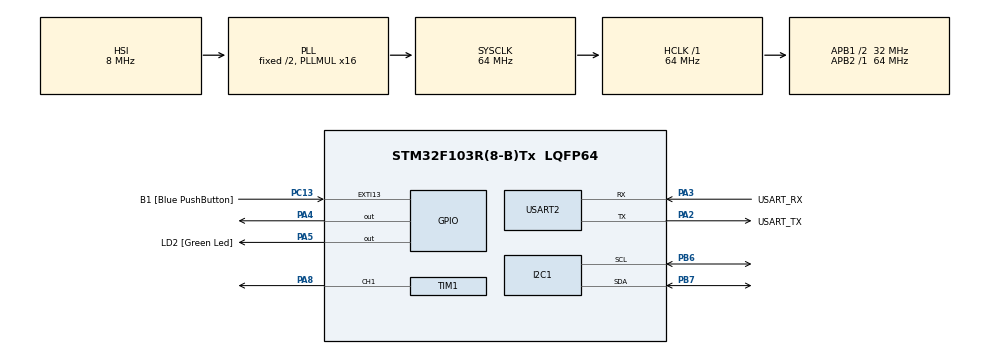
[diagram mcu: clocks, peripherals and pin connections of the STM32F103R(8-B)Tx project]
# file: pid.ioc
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Dma.Request0=USART2_RX
Dma.USART2_RX.0.Direction=DMA_PERIPH_TO_MEMORY
Dma.USART2_RX.0.Instance=DMA1_Channel6
Dma.USART2_RX.0.MemDataAlignment=DMA_MDATAALIGN_BYTE
Dma.USART2_RX.0.MemInc=DMA_MINC_ENABLE
Dma.USART2_RX.0.Mode=DMA_NORMAL
Dma.USART2_RX.0.PeriphDataAlignment=DMA_PDATAALIGN_BYTE
Dma.USART2_RX.0.PeriphInc=DMA_PINC_DISABLE
Dma.USART2_RX.0.Priority=DMA_PRIORITY_LOW
Mcu.Family=STM32F1
Mcu.Name=STM32F103R(8-B)Tx
Mcu.Package=LQFP64
NVIC.DMA1_Channel6_IRQn=true\:0\:0\:false\:false\:true\:false\:true\:true
NVIC.EXTI15_10_IRQn=true\:0\:0\:false\:false\:true\:true\:true\:true
NVIC.PriorityGroup=NVIC_PRIORITYGROUP_4
NVIC.TIM3_IRQn=true\:0\:0\:false\:false\:true\:true\:true\:true
NVIC.USART2_IRQn=true\:0\:0\:false\:false\:true\:true\:true\:true
PA13.GPIO_Label=TMS
PA13.Mode=Serial_Wire
PA13.Signal=SYS_JTMS-SWDIO
PA14.GPIO_Label=TCK
PA14.Mode=Serial_Wire
PA14.Signal=SYS_JTCK-SWCLK
PA2.GPIO_Label=USART_TX
PA2.GPIO_Mode=GPIO_MODE_AF_PP
PA2.GPIO_PuPd=GPIO_NOPULL
PA2.GPIO_Speed=GPIO_SPEED_FREQ_LOW
PA2.Mode=Asynchronous
PA2.Signal=USART2_TX
PA3.GPIO_Label=USART_RX
PA3.GPIO_Mode=GPIO_MODE_AF_PP
PA3.GPIO_PuPd=GPIO_NOPULL
PA3.GPIO_Speed=GPIO_SPEED_FREQ_LOW
PA3.Mode=Asynchronous
PA3.Signal=USART2_RX
PA4.Signal=GPIO_Output
PA5.GPIO_Label=LD2 [Green Led]
PA5.GPIO_ModeDefaultOutputPP=GPIO_MODE_OUTPUT_PP
PA5.GPIO_PuPd=GPIO_NOPULL
PA5.GPIO_Speed=GPIO_SPEED_FREQ_LOW
PA5.Signal=GPIO_Output
PA8.Signal=S_TIM1_CH1
PB3.GPIO_Label=SWO
PB3.Signal=SYS_JTDO-TRACESWO
PB6.Mode=I2C
PB6.Signal=I2C1_SCL
PB7.Mode=I2C
PB7.Signal=I2C1_SDA
PC13-TAMPER-RTC.GPIO_Label=B1 [Blue PushButton]
PC13-TAMPER-RTC.GPIO_PuPd=GPIO_NOPULL
PC13-TAMPER-RTC.Signal=GPXTI13
PC14-OSC32_IN.Mode=LSE-External-Oscillator
PC14-OSC32_IN.Signal=RCC_OSC32_IN
PC15-OSC32_OUT.Mode=LSE-External-Oscillator
PC15-OSC32_OUT.Signal=RCC_OSC32_OUT
PD0-OSC_IN.Mode=HSE-External-Clock-Source
PD0-OSC_IN.Signal=RCC_OSC_IN
PD1-OSC_OUT.Mode=HSE-External-Clock-Source
PD1-OSC_OUT.Signal=RCC_OSC_OUT
ProjectManager.HeapSize=0x200
ProjectManager.StackSize=0x400
ProjectManager.TargetToolchain=STM32CubeIDE
RCC.AHBFreq_Value=64000000
RCC.APB1CLKDivider=RCC_HCLK_DIV2
RCC.APB1Freq_Value=32000000
RCC.APB1TimFreq_Value=64000000
RCC.APB2Freq_Value=64000000
RCC.APB2TimFreq_Value=64000000
RCC.HCLKFreq_Value=64000000
RCC.PLLMUL=RCC_PLL_MUL16
RCC.RTCClockSelection=RCC_RTCCLKSOURCE_LSE
RCC.SYSCLKFreq_VALUE=64000000
RCC.SYSCLKSource=RCC_SYSCLKSOURCE_PLLCLK
RCC.USBFreq_Value=64000000
SH.S_TIM1_CH1.0=TIM1_CH1,PWM Generation1 CH1
TIM1.Channel-PWM\ Generation1\ CH1=TIM_CHANNEL_1
TIM3.AutoReloadPreload=TIM_AUTORELOAD_PRELOAD_ENABLE
TIM3.Period=10000-1
TIM3.Prescaler=9600-1
USART2.VirtualMode=VM_ASYNC
VP_TIM1_VS_ClockSourceINT.Mode=Internal
VP_TIM3_VS_ClockSourceINT.Mode=Internal
board=NUCLEO-F103RB

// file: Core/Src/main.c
/* USER CODE BEGIN Header */
/**
  ******************************************************************************
  * @file           : main.c
  * @brief          : Main program body
  ******************************************************************************
  * @attention
  *
  * Copyright (c) 2023 STMicroelectronics.
  * All rights reserved.
  *
  * This software is licensed under terms that can be found in the LICENSE file
  * in the root directory of this software component.
  * If no LICENSE file comes with this software, it is provided AS-IS.
  *
  ******************************************************************************
  */
/* USER CODE END Header */
#include "main.h"

/* USER CODE BEGIN Includes */
#include "BMPXX80.h"
#include "stdio.h"
#include "string.h"
/* USER CODE END Includes */

/* USER CODE BEGIN PD */
#define COUNTOF(__BUFFER__) (sizeof(__BUFFER__) / (sizeof *(__BUFFER__)))
/* USER CODE END PD */

I2C_HandleTypeDef hi2c1;

TIM_HandleTypeDef htim1;
TIM_HandleTypeDef htim3;

UART_HandleTypeDef huart2;
DMA_HandleTypeDef hdma_usart2_rx;

/* USER CODE BEGIN PV */
float current_temp_f;
char current_temp_ch_UART[29];

float set_temp_f = 30.0;

char set_temp_ch_UART[24];

int32_t pressure;

float pwm_duty_f;
uint16_t pwm_duty_u = 0;

char get_UART[10];
/* USER CODE END PV */

void SystemClock_Config(void);
static void MX_GPIO_Init(void);
static void MX_DMA_Init(void);
static void MX_USART2_UART_Init(void);
static void MX_I2C1_Init(void);
static void MX_TIM3_Init(void);
static void MX_TIM1_Init(void);

/* USER CODE BEGIN 0 */
struct Controller{
	float Kp;
	float Ki;
	float Kd;
	float Tp;
	float prev_error;
	float prev_u_I;

};

float calculate_PID(struct Controller *PID, float set_temp, float meas_temp){
	float u = 0;
	float error;
	float u_P, u_I , u_D;

	error = set_temp - meas_temp;

	// Proportional
	u_P = PID->Kp * error;

	// Integral
	u_I = PID->Ki * PID->Tp / 2.0 * (error + PID->prev_error) + PID->prev_u_I;
	PID->prev_u_I = u_I;

	// Derivative
	u_D = (error - PID->prev_error) / PID->Tp;

	PID->prev_error = error;

	// Sum of P, I and D components
	u = u_P + u_I + u_D;

	return u;
}

struct Controller PID;

/* USER CODE END 0 */

int main(void)
{

  /* MCU Configuration--------------------------------------------------------*/

  /* Reset of all peripherals, Initializes the Flash interface and the Systick. */
  HAL_Init();

  /* Configure the system clock */
  SystemClock_Config();

  /* Initialize all configured peripherals */
  MX_GPIO_Init();
  MX_DMA_Init();
  MX_USART2_UART_Init();
  MX_I2C1_Init();
  MX_TIM3_Init();
  MX_TIM1_Init();
  /* USER CODE BEGIN 2 */
  BMP280_Init(&hi2c1, BMP280_TEMPERATURE_16BIT, BMP280_STANDARD, BMP280_FORCEDMODE);
  HAL_TIM_PWM_Start(&htim1, TIM_CHANNEL_1);
  HAL_TIM_Base_Start_IT(&htim3);

  PID.Kp = 0.03928;
  PID.Ki = 0.0002692;
  PID.Kd = 0.01957;
  PID.Tp = 1;
  PID.prev_error = 0;
  PID.prev_u_I = 0;

  HAL_UARTEx_ReceiveToIdle_DMA(&huart2, (uint8_t *)get_UART, 10);
  /* USER CODE END 2 */

  /* Infinite loop */
  while (1)
  {

    /* USER CODE BEGIN 3 */
	  // Reset data from UART
	  	  memset(get_UART, 0, 10);
  }
  /* USER CODE END 3 */
}

void SystemClock_Config(void)
{
  RCC_OscInitTypeDef RCC_OscInitStruct = {0};
  RCC_ClkInitTypeDef RCC_ClkInitStruct = {0};

  /** Initializes the RCC Oscillators according to the specified parameters
  * in the RCC_OscInitTypeDef structure.
  */
  RCC_OscInitStruct.OscillatorType = RCC_OSCILLATORTYPE_HSI;
  RCC_OscInitStruct.HSIState = RCC_HSI_ON;
  RCC_OscInitStruct.HSICalibrationValue = RCC_HSICALIBRATION_DEFAULT;
  RCC_OscInitStruct.PLL.PLLState = RCC_PLL_ON;
  RCC_OscInitStruct.PLL.PLLSource = RCC_PLLSOURCE_HSI_DIV2;
  RCC_OscInitStruct.PLL.PLLMUL = RCC_PLL_MUL16;
  if (HAL_RCC_OscConfig(&RCC_OscInitStruct) != HAL_OK)
  {
    Error_Handler();
  }

  /** Initializes the CPU, AHB and APB buses clocks
  */
  RCC_ClkInitStruct.ClockType = RCC_CLOCKTYPE_HCLK|RCC_CLOCKTYPE_SYSCLK
                              |RCC_CLOCKTYPE_PCLK1|RCC_CLOCKTYPE_PCLK2;
  RCC_ClkInitStruct.SYSCLKSource = RCC_SYSCLKSOURCE_PLLCLK;
  RCC_ClkInitStruct.AHBCLKDivider = RCC_SYSCLK_DIV1;
  RCC_ClkInitStruct.APB1CLKDivider = RCC_HCLK_DIV2;
  RCC_ClkInitStruct.APB2CLKDivider = RCC_HCLK_DIV1;

  if (HAL_RCC_ClockConfig(&RCC_ClkInitStruct, FLASH_LATENCY_2) != HAL_OK)
  {
    Error_Handler();
  }
}

static void MX_I2C1_Init(void)
{

  hi2c1.Instance = I2C1;
  hi2c1.Init.ClockSpeed = 100000;
  hi2c1.Init.DutyCycle = I2C_DUTYCYCLE_2;
  hi2c1.Init.OwnAddress1 = 0;
  hi2c1.Init.AddressingMode = I2C_ADDRESSINGMODE_7BIT;
  hi2c1.Init.DualAddressMode = I2C_DUALADDRESS_DISABLE;
  hi2c1.Init.OwnAddress2 = 0;
  hi2c1.Init.GeneralCallMode = I2C_GENERALCALL_DISABLE;
  hi2c1.Init.NoStretchMode = I2C_NOSTRETCH_DISABLE;
  if (HAL_I2C_Init(&hi2c1) != HAL_OK)
  {
    Error_Handler();
  }

}

static void MX_TIM1_Init(void)
{

  TIM_ClockConfigTypeDef sClockSourceConfig = {0};
  TIM_MasterConfigTypeDef sMasterConfig = {0};
  TIM_OC_InitTypeDef sConfigOC = {0};
  TIM_BreakDeadTimeConfigTypeDef sBreakDeadTimeConfig = {0};

  htim1.Instance = TIM1;
  htim1.Init.Prescaler = 0;
  htim1.Init.CounterMode = TIM_COUNTERMODE_UP;
  htim1.Init.Period = 65535;
  htim1.Init.ClockDivision = TIM_CLOCKDIVISION_DIV1;
  htim1.Init.RepetitionCounter = 0;
  htim1.Init.AutoReloadPreload = TIM_AUTORELOAD_PRELOAD_DISABLE;
  if (HAL_TIM_Base_Init(&htim1) != HAL_OK)
  {
    Error_Handler();
  }
  sClockSourceConfig.ClockSource = TIM_CLOCKSOURCE_INTERNAL;
  if (HAL_TIM_ConfigClockSource(&htim1, &sClockSourceConfig) != HAL_OK)
  {
    Error_Handler();
  }
  if (HAL_TIM_PWM_Init(&htim1) != HAL_OK)
  {
    Error_Handler();
  }
  sMasterConfig.MasterOutputTrigger = TIM_TRGO_RESET;
  sMasterConfig.MasterSlaveMode = TIM_MASTERSLAVEMODE_DISABLE;
  if (HAL_TIMEx_MasterConfigSynchronization(&htim1, &sMasterConfig) != HAL_OK)
  {
    Error_Handler();
  }
  sConfigOC.OCMode = TIM_OCMODE_PWM1;
  sConfigOC.Pulse = 0;
  sConfigOC.OCPolarity = TIM_OCPOLARITY_HIGH;
  sConfigOC.OCNPolarity = TIM_OCNPOLARITY_HIGH;
  sConfigOC.OCFastMode = TIM_OCFAST_DISABLE;
  sConfigOC.OCIdleState = TIM_OCIDLESTATE_RESET;
  sConfigOC.OCNIdleState = TIM_OCNIDLESTATE_RESET;
  if (HAL_TIM_PWM_ConfigChannel(&htim1, &sConfigOC, TIM_CHANNEL_1) != HAL_OK)
  {
    Error_Handler();
  }
  sBreakDeadTimeConfig.OffStateRunMode = TIM_OSSR_DISABLE;
  sBreakDeadTimeConfig.OffStateIDLEMode = TIM_OSSI_DISABLE;
  sBreakDeadTimeConfig.LockLevel = TIM_LOCKLEVEL_OFF;
  sBreakDeadTimeConfig.DeadTime = 0;
  sBreakDeadTimeConfig.BreakState = TIM_BREAK_DISABLE;
  sBreakDeadTimeConfig.BreakPolarity = TIM_BREAKPOLARITY_HIGH;
  sBreakDeadTimeConfig.AutomaticOutput = TIM_AUTOMATICOUTPUT_DISABLE;
  if (HAL_TIMEx_ConfigBreakDeadTime(&htim1, &sBreakDeadTimeConfig) != HAL_OK)
  {
    Error_Handler();
  }
  HAL_TIM_MspPostInit(&htim1);

}

static void MX_TIM3_Init(void)
{

  TIM_ClockConfigTypeDef sClockSourceConfig = {0};
  TIM_MasterConfigTypeDef sMasterConfig = {0};

  htim3.Instance = TIM3;
  htim3.Init.Prescaler = 9600-1;
  htim3.Init.CounterMode = TIM_COUNTERMODE_UP;
  htim3.Init.Period = 10000-1;
  htim3.Init.ClockDivision = TIM_CLOCKDIVISION_DIV1;
  htim3.Init.AutoReloadPreload = TIM_AUTORELOAD_PRELOAD_ENABLE;
  if (HAL_TIM_Base_Init(&htim3) != HAL_OK)
  {
    Error_Handler();
  }
  sClockSourceConfig.ClockSource = TIM_CLOCKSOURCE_INTERNAL;
  if (HAL_TIM_ConfigClockSource(&htim3, &sClockSourceConfig) != HAL_OK)
  {
    Error_Handler();
  }
  sMasterConfig.MasterOutputTrigger = TIM_TRGO_RESET;
  sMasterConfig.MasterSlaveMode = TIM_MASTERSLAVEMODE_DISABLE;
  if (HAL_TIMEx_MasterConfigSynchronization(&htim3, &sMasterConfig) != HAL_OK)
  {
    Error_Handler();
  }

}

static void MX_USART2_UART_Init(void)
{

  huart2.Instance = USART2;
  huart2.Init.BaudRate = 115200;
  huart2.Init.WordLength = UART_WORDLENGTH_8B;
  huart2.Init.StopBits = UART_STOPBITS_1;
  huart2.Init.Parity = UART_PARITY_NONE;
  huart2.Init.Mode = UART_MODE_TX_RX;
  huart2.Init.HwFlowCtl = UART_HWCONTROL_NONE;
  huart2.Init.OverSampling = UART_OVERSAMPLING_16;
  if (HAL_UART_Init(&huart2) != HAL_OK)
  {
    Error_Handler();
  }

}

static void MX_DMA_Init(void)
{

  /* DMA controller clock enable */
  __HAL_RCC_DMA1_CLK_ENABLE();

  /* DMA interrupt init */
  /* DMA1_Channel6_IRQn interrupt configuration */
  HAL_NVIC_SetPriority(DMA1_Channel6_IRQn, 0, 0);
  HAL_NVIC_EnableIRQ(DMA1_Channel6_IRQn);

}

static void MX_GPIO_Init(void)
{
  GPIO_InitTypeDef GPIO_InitStruct = {0};

  /* GPIO Ports Clock Enable */
  __HAL_RCC_GPIOC_CLK_ENABLE();
  __HAL_RCC_GPIOD_CLK_ENABLE();
  __HAL_RCC_GPIOA_CLK_ENABLE();
  __HAL_RCC_GPIOB_CLK_ENABLE();

  /*Configure GPIO pin Output Level */
  HAL_GPIO_WritePin(GPIOA, GPIO_PIN_4|LD2_Pin, GPIO_PIN_RESET);

  /*Configure GPIO pin : B1_Pin */
  GPIO_InitStruct.Pin = B1_Pin;
  GPIO_InitStruct.Mode = GPIO_MODE_IT_RISING;
  GPIO_InitStruct.Pull = GPIO_NOPULL;
  HAL_GPIO_Init(B1_GPIO_Port, &GPIO_InitStruct);

  /*Configure GPIO pins : PA4 LD2_Pin */
  GPIO_InitStruct.Pin = GPIO_PIN_4|LD2_Pin;
  GPIO_InitStruct.Mode = GPIO_MODE_OUTPUT_PP;
  GPIO_InitStruct.Pull = GPIO_NOPULL;
  GPIO_InitStruct.Speed = GPIO_SPEED_FREQ_LOW;
  HAL_GPIO_Init(GPIOA, &GPIO_InitStruct);

  /* EXTI interrupt init*/
  HAL_NVIC_SetPriority(EXTI15_10_IRQn, 0, 0);
  HAL_NVIC_EnableIRQ(EXTI15_10_IRQn);

}

/* USER CODE BEGIN 4 */
void HAL_TIM_PeriodElapsedCallback(TIM_HandleTypeDef *htim){
	if(htim->Instance == TIM3){

		BMP280_ReadTemperatureAndPressure(&current_temp_f, &pressure);
		sprintf(current_temp_ch_UART, "Current temperature: %.2f\n\r", current_temp_f);
		HAL_UART_Transmit(&huart2, (uint8_t *)current_temp_ch_UART, sizeof(current_temp_ch_UART)-1, 1000);

		sprintf((char*)set_temp_ch_UART, "Set temperature: %.2f\n\r", set_temp_f);
		HAL_UART_Transmit(&huart2, (uint8_t*)set_temp_ch_UART, strlen(set_temp_ch_UART), 1000);

		pwm_duty_f = (htim1.Init.Period * calculate_PID(&PID, set_temp_f, current_temp_f));

		if(pwm_duty_f < 0.0) pwm_duty_u = 0;
		else if(pwm_duty_f > htim1.Init.Period) pwm_duty_u = htim1.Init.Period;
		else pwm_duty_u = (uint16_t) pwm_duty_f;

		__HAL_TIM_SET_COMPARE(&htim1, TIM_CHANNEL_1, pwm_duty_u);

	}

}

// UART callback handling
void HAL_UARTEx_RxEventCallback(UART_HandleTypeDef *huart, uint16_t Size){
	if(huart->Instance == USART2){
		float tmp = atof(get_UART);
		if(tmp < 20) set_temp_f = 20;
		else if(tmp > 65) set_temp_f = 65;
		else set_temp_f = tmp;

		HAL_UARTEx_ReceiveToIdle_DMA(&huart2, (uint8_t *)get_UART, 10);
	}
}
/* USER CODE END 4 */

void Error_Handler(void)
{
  __disable_irq();
  while (1)
  {
  }
}
